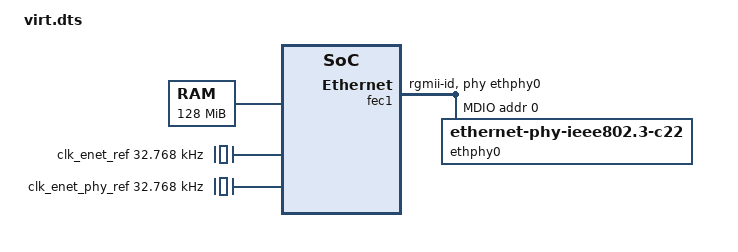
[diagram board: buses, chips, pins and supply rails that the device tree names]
/dts-v1/;

/ {
	compatible = "linux,dummy-virt";
	#address-cells = <0x02>;
	#size-cells = <0x02>;
	interrupt-parent = <0x8001>;

	cpus {
		#address-cells = <0x01>;
		#size-cells = <0x00>;

		cpu@0 {
			compatible = "arm,cortex-a53";
			reg = <0x00>;
			device_type = "cpu";
		};
	};

	timer {
		interrupts = <0x01 0x0d 0x04 0x01 0x0e 0x04 0x01 0x0b 0x04 0x01 0x0a 0x04>;
		compatible = "arm,armv8-timer\0arm,armv7-timer";
		always-on;
	};

	apb-pclk {
		compatible = "fixed-clock";
		phandle = <0x8000>;
		clock-output-names = "clk24mhz";
		clock-frequency = <0x16e3600>;
		#clock-cells = <0x00>;
	};

	pl011@9000000 {
		interrupts = <0x00 0x01 0x04>;
		compatible = "arm,pl011\0arm,primecell";
		clock-names = "uartclk\0apb_pclk";
		reg = <0x00 0x9000000 0x00 0x1000>;
		clocks = <0x8000 0x8000>;
	};

	memory@48000000 {
		reg = <0x00 0x48000000 0x00 0x8000000>;
		device_type = "memory";
	};

	chosen {
		bootargs = "ip=dhcp earlycon=pl011,0x9000000 rdinit=/bin/sh";
		linux,initrd-start = <0x4a000000>;
		linux,initrd-end   = <0x4a113b86>;
		stdout-path = "/pl011@9000000";
	};

	intc@8000000 {
		compatible = "arm,gic-v3";
		phandle = <0x8001>;
		reg = <0x00 0x8000000 0x00 0x10000 0x00 0x80a0000 0x00 0xf60000>;
		ranges;
		#address-cells = <0x02>;
		#redistributor-regions = <0x01>;
		interrupt-controller;
		#interrupt-cells = <0x03>;
		#size-cells = <0x02>;
	};

	clk_enet1_root: clock-enet1-root {
		compatible = "fixed-clock";
		#clock-cells = <0>;
		clock-frequency = <133000000>;
		clock-output-names = "clk_enet1_root";
	};

	clk_enet_timer: clock-enet-timer {
		compatible = "fixed-clock";
		#clock-cells = <0>;
		clock-frequency = <32768>;
		clock-output-names = "clk_enet_timer";
	};

	clk_enet_ref: clock-enet-ref {
		compatible = "fixed-clock";
		#clock-cells = <0>;
		clock-frequency = <32768>;
		clock-output-names = "clk_enet_ref";
	};

	clk_enet_phy_ref: clock-enet-phy-ref {
		compatible = "fixed-clock";
		#clock-cells = <0>;
		clock-frequency = <32768>;
		clock-output-names = "clk_enet_phy_ref";
	};

	fec1: ethernet@30be0000 {
		compatible = "fsl,imx8mq-fec", "fsl,imx6sx-fec";
		reg = <0x00 0x30be0000 0x00 0x10000>;
		interrupts = <0x00 118 0x04>,
		             <0x00 119 0x04>,
		             <0x00 120 0x04>;
		clocks = <&clk_enet1_root>,
		         <&clk_enet1_root>,
		         <&clk_enet_timer>,
		         <&clk_enet_ref>,
		         <&clk_enet_phy_ref>;

		clock-names = "ipg", "ahb", "ptp",
		              "enet_clk_ref", "enet_out";
		fsl,num-tx-queues = <3>;
		fsl,num-rx-queues = <3>;
		status = "okay";
		phy-mode = "rgmii-id";
		phy-handle = <&ethphy0>;
		fsl,magic-packet;

		mdio {
			#address-cells = <1>;
			#size-cells = <0>;
			
			ethphy0: ethernet-phy@0 {
				compatible = "ethernet-phy-ieee802.3-c22";
				reg = <0>;
			};
		};
	};
};
